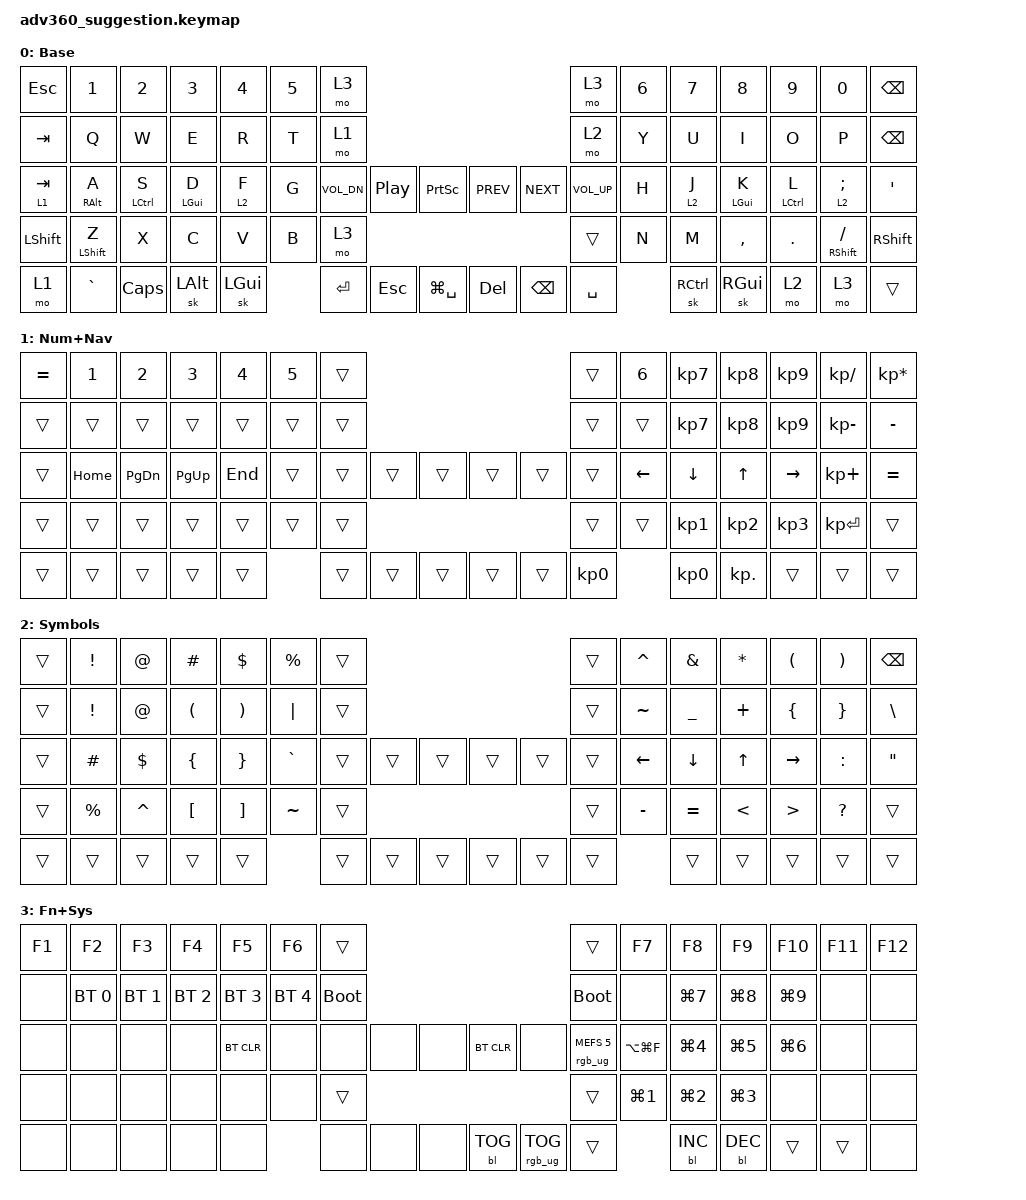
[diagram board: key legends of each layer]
#include <behaviors.dtsi>
#include <dt-bindings/zmk/keys.h>
#include <dt-bindings/zmk/bt.h>
#include <dt-bindings/zmk/rgb.h>
#include <dt-bindings/zmk/backlight.h>

/*
 * 4-LAYER OPTIMIZED KEYMAP SUGGESTION
 *
 * Layer 0: Base (QWERTY with home row mods)
 * Layer 1: Numbers + Navigation + Media
 * Layer 2: Symbols (consolidated from original L6-L8)
 * Layer 3: Function Keys + System Controls
 *
 * Home row mods: Fully preserved from original config
 * Clean 4-layer design without alternative layouts
 */

&lt {
    tapping-term-ms = <150>;
    flavor = "tap-preferred";
    quick_tap_ms = <80>;
};

&sl {
    release-after-ms = <2000>;
};

/ {
    combos {
        compatible = "zmk,combos";

        // Quick Esc combo (keep from original)
        combo_esc {
            timeout-ms = <50>;
            key-positions = <31 32>;
            bindings = <&kp ESC>;
        };

        // Quote combo (keep from original)
        combo_sqt {
            timeout-ms = <50>;
            key-positions = <41 42>;
            bindings = <&kp SQT>;
        };
    };

    behaviors {
        #include "macros.dtsi"
        #include "version.dtsi"
        #ifndef VERSION_MACRO
        macro_ver: macro_ver {
            compatible = "zmk,behavior-macro";
            label = "macro_version";
            #binding-cells = <0>;
            bindings = <&kp RET>;
        };
        #endif

        // Home row mods (preserved from original)
        hm: homerow_mods {
            compatible = "zmk,behavior-hold-tap";
            label = "HOMEROW_MODS";
            #binding-cells = <2>;
            tapping-term-ms = <150>;
            quick_tap_ms = <150>;
            flavor = "tap-preferred";
            bindings = <&kp>, <&kp>;
        };

        hh: homerow_hold {
            compatible = "zmk,behavior-hold-tap";
            label = "HOMEROW_HOLD";
            #binding-cells = <2>;
            tapping-term-ms = <120>;
            quick_tap_ms = <120>;
            flavor = "balanced";
            bindings = <&mo>, <&kp>;
        };

        ht: homerow_layer_hold {
            compatible = "zmk,behavior-hold-tap";
            label = "HOMEROW_LAYER_HOLD";
            #binding-cells = <2>;
            tapping-term-ms = <150>;
            quick_tap_ms = <150>;
            flavor = "balanced";
            bindings = <&mo>, <&kp>;
        };

        hl: homerow_low_mods {
            compatible = "zmk,behavior-hold-tap";
            label = "HOMEROW_LOW_MODS";
            #binding-cells = <2>;
            tapping-term-ms = <120>;
            quick_tap_ms = <120>;
            flavor = "tap-preferred";
            bindings = <&kp>, <&kp>;
        };

        pinky: pinky_low_mod {
            compatible = "zmk,behavior-hold-tap";
            label = "PINKY_LOW_MOD";
            #binding-cells = <2>;
            tapping-term-ms = <210>;
            quick_tap_ms = <180>;
            flavor = "tap-preferred";
            bindings = <&kp>, <&kp>;
        };
    };

    keymap {
        compatible = "zmk,keymap";

        // ============================================================
        // LAYER 0: BASE (QWERTY + Home Row Mods)
        // ============================================================
        default_layer {
            display-name = "Base";
            bindings = <
    &kp ESC       &kp N1           &kp N2         &kp N3        &kp N4      &kp N5        &mo 3                                                                           &mo 3            &kp N6      &kp N7        &kp N8       &kp N9          &kp N0           &kp BACKSPACE
    &kp TAB       &kp Q            &kp W          &kp E         &kp R       &kp T         &mo 1                                                                           &mo 2            &kp Y       &kp U         &kp I        &kp O           &kp P            &kp BACKSPACE
    &lt 1 TAB     &pinky RALT A    &hm LCTRL S    &hm LGUI D    &hh 2 F     &kp G         &kp C_VOL_DN    &kp C_PP       &kp PSCRN        &kp C_PREV    &kp C_NEXT    &kp C_VOL_UP     &kp H       &ht 2 J       &hl LGUI K   &hm LCTRL L     &hh 2 SEMICOLON  &kp SQT
    &kp LSHIFT    &mt LSHIFT Z     &kp X          &kp C         &kp V       &kp B                                        &mo 3            &trans                                      &kp N       &kp M         &kp COMMA    &kp DOT         &mt RSHIFT SLASH &kp RSHIFT
    &mo 1         &kp GRAVE        &kp CAPS       &sk LALT      &sk LGUI                  &kp ENTER       &kp ESC        &kp LG(SPACE)    &kp DELETE    &kp BACKSPACE &kp SPACE                    &sk RCTRL     &sk RGUI     &mo 2           &mo 3            &trans
            >;
        };

        // ============================================================
        // LAYER 1: NUMBERS + NAVIGATION (vim hjkl) + MEDIA
        // ============================================================
        layer_numbers_nav {
            display-name = "Num+Nav";
            bindings = <
    &kp EQUAL     &kp N1           &kp N2         &kp N3        &kp N4      &kp N5        &trans                                                                          &trans           &kp N6      &kp KP_N7     &kp KP_N8    &kp KP_N9       &kp KP_DIVIDE    &kp KP_MULTIPLY
    &trans        &trans           &trans         &trans        &trans      &trans        &trans                                                                          &trans           &trans      &kp KP_N7     &kp KP_N8    &kp KP_N9       &kp KP_MINUS     &kp MINUS
    &trans        &kp HOME         &kp PG_DN      &kp PG_UP     &kp END     &trans        &trans          &trans         &trans           &trans        &trans        &trans           &kp LEFT    &kp DOWN      &kp UP       &kp RIGHT       &kp KP_PLUS      &kp EQUAL
    &trans        &trans           &trans         &trans        &trans      &trans                                       &trans           &trans                                       &trans      &kp KP_N1     &kp KP_N2    &kp KP_N3       &kp KP_ENTER     &trans
    &trans        &trans           &trans         &trans        &trans                    &trans          &trans         &trans           &trans        &trans        &kp KP_N0                    &kp KP_N0     &kp KP_DOT   &trans          &trans           &trans
            >;
        };

        // ============================================================
        // LAYER 2: SYMBOLS (Consolidated from L6, L7, L8)
        // ============================================================
        layer_symbols {
            display-name = "Symbols";
            bindings = <
    &trans        &kp EXCL         &kp AT         &kp HASH      &kp DLLR    &kp PRCNT     &trans                                                                          &trans           &kp CARET   &kp AMPS      &kp ASTRK    &kp LPAR        &kp RPAR         &kp BSPC
    &trans        &kp EXCL         &kp AT         &kp LPAR      &kp RPAR    &kp PIPE      &trans                                                                          &trans           &kp TILDE   &kp UNDER     &kp PLUS     &kp LBRC        &kp RBRC         &kp BSLH
    &trans        &kp HASH         &kp DLLR       &kp LBRC      &kp RBRC    &kp GRAVE     &trans          &trans         &trans           &trans        &trans        &trans           &kp LEFT    &kp DOWN      &kp UP       &kp RIGHT       &kp COLON        &kp DQT
    &trans        &kp PRCNT        &kp CARET      &kp LBKT      &kp RBKT    &kp TILDE                                    &trans           &trans                                       &kp MINUS   &kp EQUAL     &kp LT       &kp GT          &kp QMARK        &trans
    &trans        &trans           &trans         &trans        &trans                    &trans          &trans         &trans           &trans        &trans        &trans                       &trans        &trans       &trans          &trans           &trans
            >;
        };

        // ============================================================
        // LAYER 3: FUNCTION KEYS + SYSTEM + ADVANCED WM
        // ============================================================
        layer_function_system {
            display-name = "Fn+Sys";
            bindings = <
    &kp F1        &kp F2           &kp F3         &kp F4        &kp F5      &kp F6        &trans                                                                          &trans           &kp F7      &kp F8        &kp F9       &kp F10         &kp F11          &kp F12
    &none         &bt BT_SEL 0     &bt BT_SEL 1   &bt BT_SEL 2  &bt BT_SEL 3 &bt BT_SEL 4 &bootloader                                                                     &bootloader      &none       &kp LG(N7)    &kp LG(N8)   &kp LG(N9)      &none            &none
    &none         &none            &none          &none         &bt BT_CLR  &none         &none           &none          &none            &bt BT_CLR    &none         &rgb_ug RGB_MEFS_CMD 5 &kp LA(LG(F)) &kp LG(N4)  &kp LG(N5)   &kp LG(N6)      &none            &none
    &none         &none            &none          &none         &none       &none                                        &trans           &trans                                       &kp LG(N1)  &kp LG(N2)    &kp LG(N3)   &none           &none            &none
    &none         &none            &none          &none         &none                     &none           &none          &none            &bl BL_TOG    &rgb_ug RGB_TOG &trans                      &bl BL_INC    &bl BL_DEC   &trans          &trans           &none
            >;
        };

        // Reserved layers for future use
        extra1 {
            display-name = "Extra1";
            status = "reserved";
        };

        extra2 {
            display-name = "Extra2";
            status = "reserved";
        };

        extra3 {
            display-name = "Extra3";
            status = "reserved";
        };

        extra4 {
            display-name = "Extra4";
            status = "reserved";
        };
    };
};

/*
 * ============================================================
 * LAYER ORGANIZATION SUMMARY
 * ============================================================
 *
 * LAYER 0 - BASE (QWERTY)
 * - Full QWERTY layout with home row mods
 * - Pinky: RALT on A
 * - Home row: LCTRL (S), LGUI (D), Layer 2 (F)
 * - Right home: Layer 2 (J), LGUI (K), LCTRL (L), Layer 2 (;)
 * - Thumb cluster: Enter, Esc, Cmd+Space, Delete, Backspace, Space
 * - Top corners: &mo 3 for quick function layer access
 *
 * LAYER 1 - NUMBERS + NAVIGATION
 * - Right side vim navigation: H=left, J=down, K=up, L=right
 * - Left side: Home, PgDn, PgUp, End (home row position)
 * - Right side: Numpad layout (7,8,9 / 4,5,6 / 1,2,3 / 0,.)
 * - Math operators: +, -, *, /, =
 * - Combines functionality from original L2 (keypad) + L5 (WM navigation)
 *
 * LAYER 2 - SYMBOLS
 * - Left side: !, @, #, $, %, ^, &, *, (, )
 * - Right side: ~, _, +, {, }, \, -, =, <, >, ?
 * - Common symbols: Brackets [], Braces {}, Parens ()
 * - Quotes and special characters
 * - Consolidated from original L6, L7, L8
 *
 * LAYER 3 - FUNCTION + SYSTEM
 * - Top row: F1-F12 function keys
 * - Bluetooth: BT_SEL 0-4, BT_CLR
 * - System: Bootloader access
 * - RGB/Backlight: Controls for customization
 * - Window Manager: Cmd+N1-N9 shortcuts, Alt+Cmd+F
 * - Combines original L3 (function) + L4 (system) + advanced L5 (WM)
 *
 * ============================================================
 * KEY IMPROVEMENTS
 * ============================================================
 *
 * 1. REDUCED COGNITIVE LOAD
 *    - 4 primary layers instead of 8 (50% reduction)
 *    - Clearer mental model: Base � Numbers � Symbols � System
 *    - Less layer switching during normal use
 *
 * 2. OPTIMIZED LAYER ACCESS
 *    - &mo 1: Numbers/Nav on left thumb or Tab hold
 *    - &mo 2: Symbols on home row holds (F, J, ;) + right thumb
 *    - &mo 3: Function/System on top corners + dedicated key
 *    - Quick access to all essential functions
 *
 * 3. CONSOLIDATED SYMBOLS
 *    - 3 symbol layers � 1 comprehensive symbol layer
 *    - Most common symbols easily accessible
 *    - Logical grouping: programming symbols, brackets, operators
 *
 * 4. HOME ROW MODS PRESERVED
 *    - All original behaviors maintained (hm, hh, ht, hl, pinky)
 *    - Same tapping terms and timing
 *    - Proven ergonomic benefits retained
 *
 * 5. SMART CONSOLIDATION
 *    - Numbers + Navigation combined (complementary use cases)
 *    - Function + System combined (infrequent access, logical pairing)
 *    - Window Manager shortcuts distributed logically
 *
 * 6. FLEXIBILITY
 *    - 5 reserved layers for future customization (layers 4-8)
 *    - Easy to adjust symbol placement based on usage patterns
 *    - Room to add alternative layouts or specialized layers later
 *
 * ============================================================
 * USAGE TIPS
 * ============================================================
 *
 * COMMON WORKFLOWS:
 *
 * 1. Coding:
 *    - Base layer for typing
 *    - Hold F or J for symbols
 *    - Hold Tab for numbers
 *
 * 2. Navigation (vim-style):
 *    - Hold Tab → use HJKL for arrows (right hand)
 *    - Home/End/PgUp/PgDn on left home row
 *
 * 3. Numpad:
 *    - Hold Tab → right hand numpad
 *    - Natural calculator-style layout
 *
 * 4. System Control:
 *    - Press &mo 3 key (top corners)
 *    - Access F-keys, Bluetooth, RGB
 *
 * 5. Window Management:
 *    - Layer 3 for Cmd+N shortcuts
 *    - Alt+Cmd+F for fullscreen on Layer 3
 *
 * ============================================================
 * CUSTOMIZATION NOTES
 * ============================================================
 *
 * Easy adjustments you might want:
 *
 * 1. Swap number row and numpad priority
 * 2. Adjust symbol positions based on your usage
 * 3. Add more window manager shortcuts to Layer 1
 * 4. Configure combo positions to avoid accidental triggers
 * 5. Fine-tune tapping terms for your typing speed
 *
 * The 4-layer approach provides excellent balance between:
 * - Simplicity (fewer layers to remember)
 * - Functionality (all essential keys accessible)
 * - Ergonomics (home row mods, minimal finger travel)
 * - Performance (quick layer access, logical grouping)
 */
